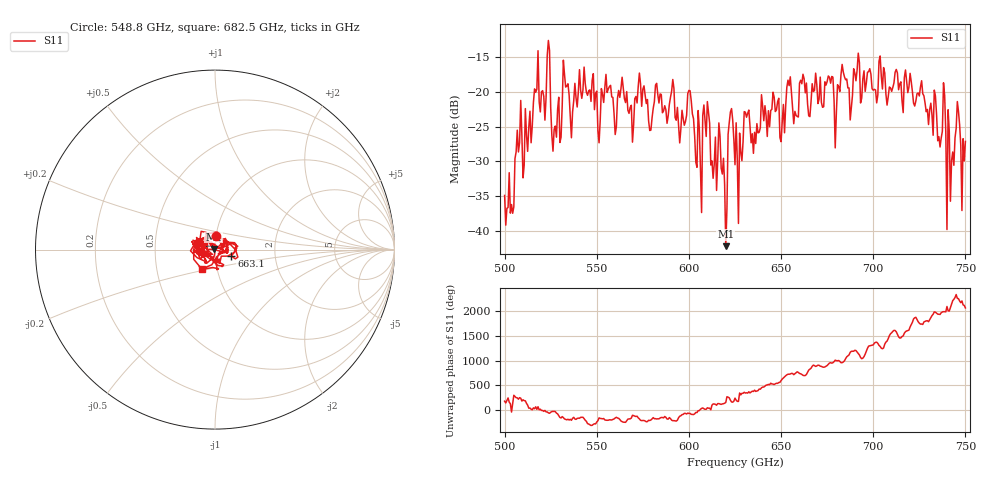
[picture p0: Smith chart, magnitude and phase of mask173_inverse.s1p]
!Created with skrf (http://scikit-rf.org).
# GHz S MA R 50.0
!freq magS11 angS11
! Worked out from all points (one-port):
!   401 points, 500 GHz to 750 GHz, reference 50 ohm
!   lowest |S11| = -42.2 dB at 620 GHz (marker M1), VSWR 1.02, Z = 49.3 + j0.321 ohm
!   |S11| at or under -10 dB: start of sweep to end of sweep
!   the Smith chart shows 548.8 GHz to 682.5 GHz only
!   S11 on the Smith chart (normalised r, x): 548.8 GHz: 1.00, +0.15; 663.1 GHz: 1.20, -0.09; 682.5 GHz: 0.84, -0.19
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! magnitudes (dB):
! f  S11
! 500 GHz  -34.9
! 516.9 GHz  -20.1
! 523.8 GHz  -12.6
! 526.9 GHz  -25.4
! 531.2 GHz  -22.0
! 548.8 GHz  -22.5
! 562.5 GHz  -20.8
! 593.8 GHz  -22.2
! 600.6 GHz  -19.8
! 605.6 GHz  -25.2
! 609.4 GHz  -26.4
! 620 GHz  -42.2
! 622.5 GHz  -22.9
! 625 GHz  -30.5
! 627.5 GHz  -25.9
! 631.2 GHz  -23.6
! 635 GHz  -28.8
! 656.2 GHz  -22.6
! 663.1 GHz  -20.1
! 680 GHz  -23.0
! 682.5 GHz  -17.5
! 687.5 GHz  -24.0
! 691.2 GHz  -16.9
! 718.8 GHz  -20.1
! 738.1 GHz  -18.7
! 741.2 GHz  -25.6
! 745.6 GHz  -21.4
! 750 GHz  -27.1
